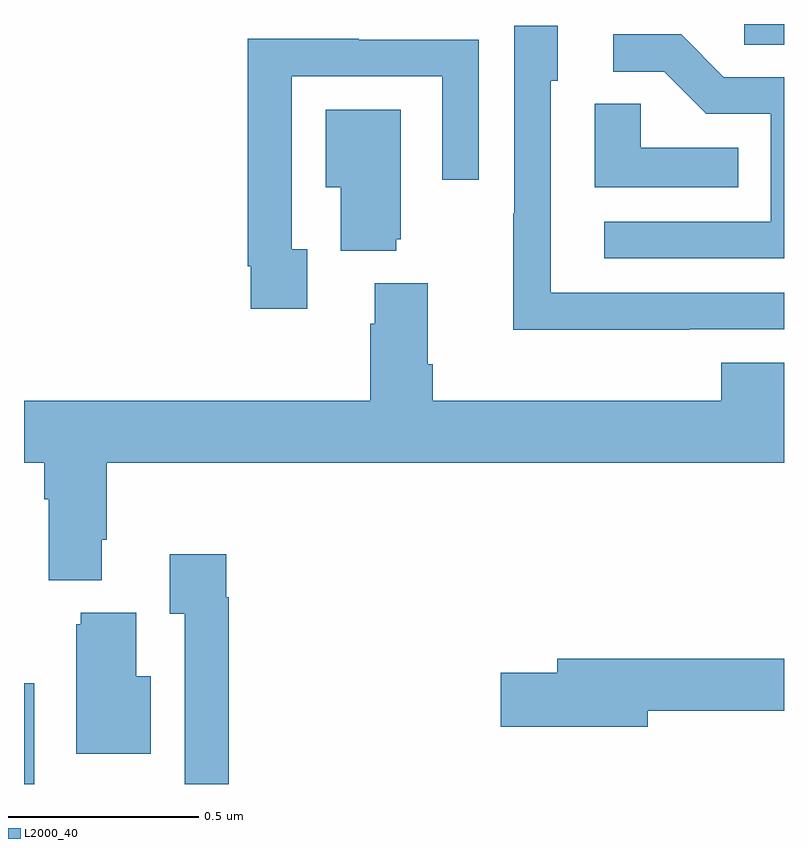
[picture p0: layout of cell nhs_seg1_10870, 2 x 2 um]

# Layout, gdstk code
import gdstk
lib = gdstk.Library(unit=1e-6, precision=1e-09)
def R(c, l, rs):  # rectangles x0, y0, x1, y1
    for r in rs: c.add(gdstk.rectangle(r[:2], r[2:], *l))
def P(c, l, *ps):  # polygons
    for p in ps: c.add(gdstk.Polygon(p, *l))
L2000_40 = (2000, 40)

nhs_seg1_10870 = lib.new_cell('nhs_seg1_10870')
R(nhs_seg1_10870, L2000_40, [(246,572.199,246.027,572.464), (247.896,574.144,248,574.199)])
P(nhs_seg1_10870, L2000_40, [(247.751,573.396),(248,573.396),(248,573.492),(247.386,573.492),(247.386,574.05),(247.405,574.05),(247.405,574.195),(247.29,574.195),(247.29,573.701),(247.288,573.701),(247.288,573.395),(247.751,573.395)],
  [(248,574.059),(247.842,574.059),(247.729,574.172),(247.551,574.172),(247.551,574.074),(247.685,574.074),(247.796,573.963),(247.965,573.963),(247.965,573.678),(247.527,573.678),(247.527,573.582),(248,573.582)],
  [(246.745,573.606),(246.705,573.606),(246.705,574.062),(247.101,574.062),(247.101,573.789),(247.197,573.789),(247.197,574.158),(246.881,574.158),(246.881,574.16),(246.589,574.16),(246.589,573.562),(246.597,573.562),(246.597,573.45),(246.745,573.45)],
  [(247.88,573.874),(247.623,573.874),(247.623,573.989),(247.502,573.989),(247.502,573.77),(247.88,573.77)],
  [(246.98,573.633),(246.991,573.633),(246.991,573.973),(246.794,573.973),(246.794,573.77),(246.833,573.77),(246.833,573.602),(246.98,573.602)],
  [(246,573.044),(246.053,573.044),(246.053,572.948),(246.065,572.948),(246.065,572.735),(246.205,572.735),(246.205,572.842),(246.218,572.842),(246.218,573.044),(248,573.044),(248,573.307),(247.835,573.307),(247.835,573.208),(247.076,573.208),(247.076,573.304),(247.063,573.304),(247.063,573.517),(246.923,573.517),(246.923,573.41),(246.911,573.41),(246.911,573.208),(246,573.208)],
  [(246.539,572.69),(246.532,572.69),(246.532,572.803),(246.383,572.803),(246.383,572.647),(246.423,572.647),(246.423,572.199),(246.539,572.199)],
  [(246.334,572.482),(246.295,572.482),(246.295,572.65),(246.149,572.65),(246.149,572.619),(246.137,572.619),(246.137,572.279),(246.334,572.279)],
  [(247.642,572.392),(248,572.392),(248,572.528),(247.403,572.528),(247.403,572.492),(247.254,572.492),(247.254,572.35),(247.642,572.35)])

lib.write_gds('nhs_seg1_10870.gds')
